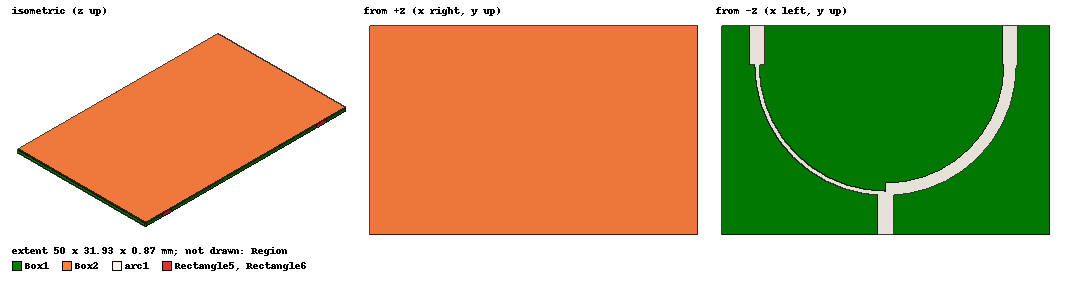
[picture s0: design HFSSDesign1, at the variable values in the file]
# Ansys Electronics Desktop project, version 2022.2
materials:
  vacuum: permittivity=1
  pec: conductivity=1e+30
  Rogers RT/duroid 5870 (tm): permittivity=2.33 dielectric_loss_tangent=0.0012
  copper: permeability=0.999991 conductivity=58000000

design HFSSDesign1 (HFSS, DrivenModal, model units mm)
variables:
  rin = 18.05mm
  rout = 19.93mm
  rin2 = 19.28mm
  ex = 0.2mm
  W50 = 2.35mm
  L50 = 6mm
  Wsub = 50mm
  hsub = 0.8mm
  t = 0.035mm
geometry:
  arc1 [pec] = polyline(z=0mm, xy: (rin, 0mm) (12.763277mm, 12.763277mm) (1.1052437e-15mm, 18.05mm), AngularArc from point 0 over 3 centre=(0mm, 0mm, 0mm) angle=90deg plane=XY)
  outer1 = polyline(z=0mm, xy: (rout, 0mm) (14.092638mm, 14.092638mm) (1.2203605e-15mm, 19.93mm), AngularArc from point 0 over 3 centre=(0mm, 0mm, 0mm) angle=90deg plane=XY)
  connect1 = polyline((19.93mm, 0mm, 0mm) (18.05mm, 0mm, 0mm))
  connect12 = polyline((0mm, 18.05mm, 0mm) (0mm, 19.93mm, 0mm))
  arc1.unite(outer1, connect1, connect12)
  arc1.cover_lines()
  arc2 = polyline(z=0mm, xy: (rin2, 0mm) (13.633019mm, 13.633019mm) (1.1805595e-15mm, 19.28mm), AngularArc from point 0 over 3 centre=(0mm, 0mm, 0mm) angle=90deg plane=XY)
  outer2 = polyline(z=0mm, xy: (rout, 0mm) (14.092638mm, 14.092638mm) (1.2203605e-15mm, 19.93mm), AngularArc from point 0 over 3 centre=(0mm, 0mm, 0mm) angle=90deg plane=XY)
  connect13 = polyline((rin2, 0mm, 0mm) (rout, 0mm, 0mm))
  connect14 = polyline((0mm, rout, 0mm) (0mm, rin2, 0mm))
  arc2.unite(outer2, connect13, connect14)
  arc2.cover_lines()
  arc2.rotate(axis=Z, angle=90deg)
  arc2.cover_lines()
  arc2.cover_lines()
  Rectangle1 = rectangle(corner=((rout-ex), -W50/2, 0mm), x_size=L50+ex, y_size=W50)
  arc2.rotate(axis=Z, angle=180deg)
  Rectangle2 = rectangle(corner=(0mm, (rout+rin)/2-W50/2, 0mm), x_size=L50, y_size=W50)
  Rectangle3 = rectangle(corner=(0mm, -(rout+rin2)/2-W50/2, 0mm), x_size=L50, y_size=W50)
  [arc2, arc1, Rectangle1].mirror(point=(0mm, 0mm, 0mm), normal=(-1mm, 0mm, 0mm))
  arc1.unite(arc2, Rectangle1, Rectangle2, Rectangle3)
  arc1.thicken(0.035mm)
  Box1 [Rogers RT/duroid 5870 (tm)] = box(corner=(-L50, -Wsub/2, 0mm), size=(2*L50+rout, Wsub, hsub))
  Box2 [copper] = box(corner=(-L50, -Wsub/2, hsub), size=(2*L50+rout, Wsub, 0.035mm))
  arc1.rotate(axis=Z, angle=90deg)
  [Box1, Box2].rotate(axis=Z, angle=-90deg)
  Rectangle4 = rectangle(corner=(1.175mm, -25.93mm, t), z_size=(0.035+0.8+0.035) mm, x_size=W50)
  Rectangle4.move(-2.35mm, 0mm, -0.07mm)
  Rectangle5 = rectangle(corner=(-17.815mm, 6mm, -0.035mm), z_size=hsub+2*t, x_size=-2.35mm)
  Rectangle6 = rectangle(corner=(20.78mm, 6mm, -0.035mm), z_size=hsub+2*t, x_size=-2.33mm)
  Region [vacuum] = region(absolute_offset=50mm on all sides)
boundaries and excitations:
  Rad1: Radiation Objects=Region
  1: Lumped Port Objects=Rectangle4 Modes{Mode1{IntLine{(0, -25.93, 0.835) -> (0, -25.93, -0.035)} CharImp=Zpi RenormImp=50ohm}} Impedance=50ohm
  2: Lumped Port Objects=Rectangle6 Modes{Mode1{IntLine{(19.615, 6, -0.035) -> (19.615, 6, 0.835)} CharImp=Zpi RenormImp=50ohm}} Impedance=50ohm
  3: Lumped Port Objects=Rectangle5 Modes{Mode1{IntLine{(-18.99, 6, -0.035) -> (-18.99, 6, 0.835)} CharImp=Zpi RenormImp=50ohm}} Impedance=50ohm
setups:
  Setup1: HfssDriven MultipleAdaptiveFreqsSetup{Low=0.5GHz High=3.5GHz} MaxDeltaS=0.02 MaximumPasses=20 MinimumPasses=1 MinimumConvergedPasses=1 PercentRefinement=30 BasisOrder=1 PortAccuracy=2 DrivenSolverType="Direct Solver"
    sweep Sweep: 0.5GHz to 3.5GHz, 401 points; Type=Fast SaveFields
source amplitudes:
  1:1: 1W 0deg
  2:1, 3:1: 0W 0deg
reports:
  S Parameter Plot 1: dB(S(1,1)), dB(S(2,1)), dB(S(3,1)) vs Freq on Setup1 : Sweep; markers MX1 at x=1.8690773e+09
  S Parameter Plot 2: dB(S(3,1)), dB(S(3,2)), dB(S(3,3)) vs Freq on Setup1 : Sweep; markers MX1 at x=1.717581e+09
